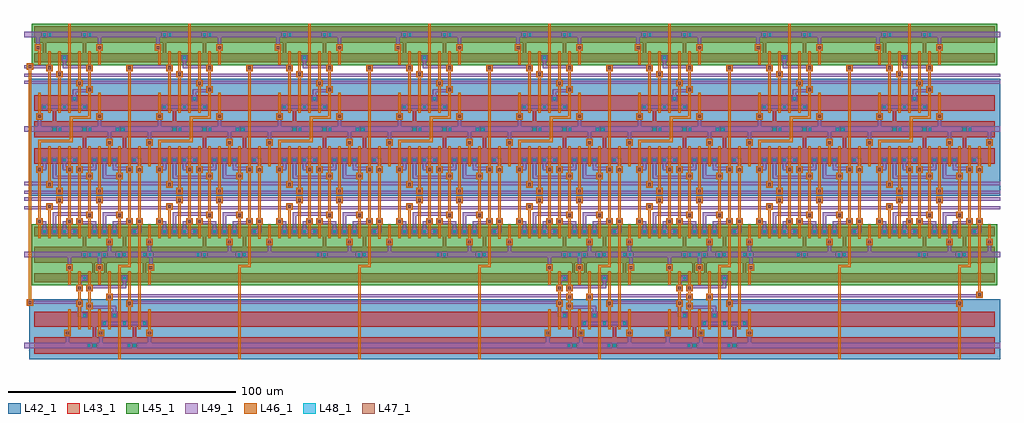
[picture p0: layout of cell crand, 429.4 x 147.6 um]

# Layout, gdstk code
import gdstk
lib = gdstk.Library(unit=1e-6, precision=2e-10)
def R(c, l, rs):  # rectangles x0, y0, x1, y1
    for r in rs: c.add(gdstk.rectangle(r[:2], r[2:], *l))
def A(c, l, x, y, w, h, nx, ny, dx, dy):  # array of equal rectangles
    R(c, l, [(x+i*dx, y+j*dy, x+i*dx+w, y+j*dy+h) for i in range(nx) for j in range(ny)])
L42_1 = (42, 1)
L43_1 = (43, 1)
L45_1 = (45, 1)
L46_1 = (46, 1)
L47_1 = (47, 1)
L48_1 = (48, 1)
L49_1 = (49, 1)

right = lib.new_cell('right')
R(right, L42_1, [(423.2,1.4,425.6,27.8), (423.2,73.4,425.6,124.8)])
R(right, L45_1, [(423.2,34,424.4,60.8), (423.2,130.8,424.4,149)])
R(right, L49_1, [(423.2,6.2,425.6,8.6), (423.2,6.2,425.6,8.6), (423.2,46.2,425.6,48.6), (423.2,46.2,425.6,48.6), (423.2,67.4,425.6,68.8), (423.2,67.4,425.6,68.8), (423.2,71.2,425.6,72.6), (423.2,71.2,425.6,72.6), (423.2,74.2,425.6,75.6), (423.2,74.2,425.6,75.6), (423.2,78,425.6,79.4), (423.2,78,425.6,79.4), (423.2,101.4,425.6,103.8), (423.2,101.4,425.6,103.8), (423.2,122.6,425.6,124), (423.2,122.6,425.6,124), (423.2,125.6,425.6,127), (423.2,125.6,425.6,127), (423.2,143,425.6,145.4), (423.2,143,425.6,145.4)])

substr_1 = lib.new_cell('substr_1')
R(substr_1, L43_1, [(5.2,27,6.8,30.4), (22.8,27,24.4,30.4), (1.6,30.4,54.4,37.6)])
R(substr_1, L45_1, [(1.6,27,54.4,32.8), (1.6,32.8,4.8,35.2), (7.2,32.8,22.4,35.2), (24.8,32.8,54.4,35.2), (1.6,35.2,54.4,38.8)])
R(substr_1, L46_1, [(1.8,27,4.6,29.8), (16.4,27,17.6,38.8), (28.8,27,31.6,29.8), (16.4,37.6,17.6,38.8)])
R(substr_1, L47_1, [(2.6,27.8,3.8,29), (29.6,27.8,30.8,29)])
R(substr_1, L48_1, [(5.4,33.4,6.6,34.6), (7.8,33.4,9,34.6), (23,33.4,24.2,34.6), (25.4,33.4,26.6,34.6)])
R(substr_1, L49_1, [(2,27.2,4.4,29.6), (29,27.2,31.4,29.6), (2.4,29.6,4,32.8), (29.4,29.6,31,32.8), (1.6,32.8,54.4,35.2)])

selector_b = lib.new_cell('selector_b')
R(selector_b, L42_1, [(-3.6,-18.4,49.2,-3.2)])
R(selector_b, L43_1, [(4.4,-18.4,6,-17.2), (-3.6,-17.2,49.2,-10.4), (-3.6,4,49.2,8), (0,8,1.6,9.2), (17.6,8,19.2,9.2)])
R(selector_b, L45_1, [(-3.6,2.8,49.2,9.2)])
R(selector_b, L46_1, [(-2,-18.4,-0.8,-9.4), (20,-18.4,21.2,-9.4), (24.4,-18.4,25.6,-9.4), (2.4,-18.2,3.6,0.2), (6.8,-18.2,8,-2.6), (11.2,-18.2,12.4,9.2), (15.6,-18.2,16.8,-6.6), (19.2,-9.4,22,-6.6), (14.8,-6.6,17.6,-3.8), (20,-6.6,21.2,0.2), (15.6,-3.8,16.8,9), (6,-2.6,8.8,0.2), (1.6,0.2,4.4,3), (6.8,0.2,8,9), (19.2,0.2,22,3), (-2,3,-0.8,9.2), (2.4,3,3.6,9), (20,3,21.2,9), (24.4,3,25.6,9.2)])
R(selector_b, L47_1, [(20,-8.6,21.2,-7.4), (15.6,-5.8,16.8,-4.6), (6.8,-1.8,8,-0.6), (2.4,1,3.6,2.2), (20,1,21.2,2.2)])
A(selector_b, L48_1, 0.2, -16.2, 1.2, 1.2, 3, 1, 8.8, 0)
R(selector_b, L48_1, [(13.4,-12.6,14.6,-11.4), (9,5.4,10.2,6.6)])
A(selector_b, L49_1, -0.4, -16.8, 2.4, 0.4, 3, 2, 8.8, 2)
R(selector_b, L49_1, [(-0.4,-16.4,19.6,-14.8), (12.8,-13.2,15.2,-10.8), (13.2,-10.8,14.8,-9.2), (13.2,-9.2,21.8,-7.8), (19.4,-7.8,21.8,-6.8), (15,-6.4,17.4,-5.4), (-3.6,-5.4,49.2,-4), (-3.6,-2.4,49.2,-1), (6.2,-1,8.6,0), (1.8,0.4,4.2,1.4), (19.4,0.4,21.8,1.4), (-3.6,1.4,4.2,2.8), (8.8,1.4,21.8,2.8), (8.8,2.8,10.4,4.8), (8.4,4.8,10.8,7.2)])

selector = lib.new_cell('selector')
R(selector, L42_1, [(-3.6,-18.4,49.2,-3.2)])
R(selector, L43_1, [(4.4,-18.4,6,-17.2), (-3.6,-17.2,49.2,-10.4), (-3.6,4,49.2,8), (0,8,1.6,9.2), (17.6,8,19.2,9.2)])
R(selector, L45_1, [(-3.6,2.8,49.2,9.2)])
A(selector, L46_1, 1.6, 0.2, 2.8, 2.8, 3, 1, 17.6, 0)
R(selector, L46_1, [(-2,-18.4,-0.8,-9.4), (20,-18.4,21.2,-9.4), (24.4,-18.4,25.6,-9.4), (37.6,-18.4,38.8,0.2), (2.4,-18.2,3.6,0.2), (6.8,-18.2,8,-2.6), (11.2,-18.2,12.4,9.2), (15.6,-18.2,16.8,-6.6), (19.2,-9.4,22,-6.6), (14.8,-6.6,17.6,-3.8), (20,-6.6,21.2,0.2), (15.6,-3.8,16.8,9), (6,-2.6,8.8,0.2), (6.8,0.2,8,9), (-2,3,-0.8,9.2), (2.4,3,3.6,9), (20,3,21.2,9), (24.4,3,25.6,9.2)])
A(selector, L47_1, 2.4, 1, 1.2, 1.2, 3, 1, 17.6, 0)
R(selector, L47_1, [(20,-8.6,21.2,-7.4), (15.6,-5.8,16.8,-4.6), (6.8,-1.8,8,-0.6)])
A(selector, L48_1, 0.2, -16.2, 1.2, 1.2, 3, 1, 8.8, 0)
R(selector, L48_1, [(13.4,-12.6,14.6,-11.4), (9,5.4,10.2,6.6)])
A(selector, L49_1, -0.4, -16.8, 2.4, 0.4, 3, 2, 8.8, 2)
A(selector, L49_1, 1.8, 0.4, 2.4, 1, 3, 1, 17.6, 0)
R(selector, L49_1, [(-0.4,-16.4,19.6,-14.8), (12.8,-13.2,15.2,-10.8), (13.2,-10.8,14.8,-9.2), (13.2,-9.2,21.8,-7.8), (19.4,-7.8,21.8,-7.2), (19.4,-7.2,21.8,-6.8), (15,-6.4,17.4,-5.4), (-3.6,-5.4,49.2,-4), (-3.6,-2.4,49.2,-1), (6.2,-1,8.6,0), (-3.6,1.4,4.2,2.8), (8.8,1.4,21.8,2.8), (37,1.4,49.2,2.8), (8.8,2.8,10.4,4.8), (8.4,4.8,10.8,7.2)])

substr_2b = lib.new_cell('substr_2b')
R(substr_2b, L42_1, [(0.8,42.6,53.6,56.8)])
R(substr_2b, L43_1, [(22,42.6,23.6,46.2), (39.6,42.6,41.2,46.2), (0.8,46.2,53.6,53.4), (8.8,53.4,10.4,56.8)])
R(substr_2b, L45_1, [(8.4,48.6,10.8,51), (21.6,48.6,24,51), (39.2,48.6,41.6,51)])
R(substr_2b, L46_1, [(2.4,42.6,3.6,44), (32.4,42.6,35.2,45.6), (50,42.6,52.8,45.4), (2.4,44,17.6,45.2), (16.4,45.2,17.6,54.4), (1.6,54,4.4,56.8), (28,54,30.8,56.8), (16.4,54.4,25.6,55.6), (24.4,55.6,25.6,56.8)])
R(substr_2b, L47_1, [(33.2,43.4,34.4,44.6), (50.8,43.4,52,44.6), (2.4,54.8,3.6,56), (28.8,54.8,30,56)])
R(substr_2b, L48_1, [(9,49.2,10.2,50.4), (11.4,49.2,12.6,50.4), (22.2,49.2,23.4,50.4), (24.6,49.2,25.8,50.4), (39.8,49.2,41,50.4), (42.2,49.2,43.4,50.4)])
R(substr_2b, L49_1, [(32.6,42.8,35,45.4), (50.2,42.8,52.6,45.2), (50.6,45.2,52.2,48.6), (33,45.4,34.6,48.6), (0.8,48.6,53.6,51), (2.2,51,3.8,54.2), (28.6,51,30.2,54.2), (1.8,54.2,4.2,56.6), (28.2,54.2,30.6,56.6)])

substr_2 = lib.new_cell('substr_2')
R(substr_2, L42_1, [(0.8,42.6,53.6,56.8)])
R(substr_2, L43_1, [(22,42.6,23.6,46.2), (39.6,42.6,41.2,46.2), (0.8,46.2,53.6,53.4), (8.8,53.4,10.4,56.8)])
R(substr_2, L45_1, [(8.4,48.6,10.8,51), (21.6,48.6,24,51), (38.4,48.6,40.8,51)])
R(substr_2, L46_1, [(2.4,42.6,3.6,44), (32.4,42.6,35.2,45.6), (42,42.6,43.2,44.4), (50,42.6,52.8,45.4), (2.4,44,17.6,45.2), (42,44.4,43.2,55.2), (16.4,45.2,17.6,54.4), (1.6,54,4.4,56.8), (28,54,30.8,56.8), (16.4,54.4,25.6,55.6), (42,55.2,43.2,56.8), (24.4,55.6,25.6,56.8)])
R(substr_2, L47_1, [(33.2,43.4,34.4,44.6), (50.8,43.4,52,44.6), (2.4,54.8,3.6,56), (28.8,54.8,30,56)])
R(substr_2, L48_1, [(9,49.2,10.2,50.4), (11.4,49.2,12.6,50.4), (22.2,49.2,23.4,50.4), (24.6,49.2,25.8,50.4), (36.6,49.2,37.8,50.4), (39,49.2,40.2,50.4)])
R(substr_2, L49_1, [(32.6,42.8,35,45.4), (50.2,42.8,52.6,45.2), (50.6,45.2,52.2,48.6), (33,45.4,34.6,48.6), (0.8,48.6,53.6,51), (2.2,51,3.8,54.2), (28.6,51,30.2,54.2), (1.8,54.2,4.2,56.6), (28.2,54.2,30.6,56.6)])

latch = lib.new_cell('latch')
R(latch, L42_1, [(-3.6,21.8,49.2,43.8)])
R(latch, L43_1, [(17.6,2.8,19.2,4), (35.2,2.8,36.8,4), (-3.6,4,49.2,8), (-3.6,35.8,49.2,42.6), (17.6,42.6,19.2,43.8), (35.2,42.6,36.8,43.8)])
R(latch, L45_1, [(-3.6,2.8,49.2,9.2)])
A(latch, L46_1, 37.6, 2.8, 1.2, 6.2, 3, 1, 4.4, 0)
A(latch, L46_1, 28.8, 34.6, 1.2, 9.2, 3, 1, 8.8, 0)
R(latch, L46_1, [(28.8,2.8,30,9), (-2,3,-0.8,9), (2.4,3,3.6,15.6), (6.8,3,8,18.4), (11.2,3,12.4,9), (15.6,3,16.8,9), (20,3,21.2,11.8), (24.4,3,25.6,18.4), (33.2,3,34.4,11.4), (-2.8,9,0,11.8), (10.4,9,13.2,11.8), (14.8,9,17.6,11.8), (36.8,9,39.6,11.8), (41.2,9,44,11.8), (33.2,11.4,34.4,11.8), (-2,11.8,-0.8,31.8), (11.2,11.8,12.4,31.8), (15.6,11.8,16.8,31.8), (19.2,11.8,22,14.6), (32.4,11.8,35.2,14.6), (37.6,11.8,38.8,31.8), (42,11.8,43.2,31.8), (20,14.6,21.2,29), (33.2,14.6,34.4,29), (1.6,15.6,4.4,18.4), (6,18.4,8.8,21.2), (23.6,18.4,26.4,21.2), (6,22.4,8.8,25.2), (23.6,22.4,26.4,25.2), (1.6,25.2,4.4,28), (6.8,25.2,8,43.6), (24.4,25.2,25.6,25.4), (24.4,25.4,25.6,43.6), (2.4,28,3.6,43.6), (19.2,29,22,31.8), (32.4,29,35.2,31.8), (-2.8,31.8,0,34.6), (10.4,31.8,13.2,34.6), (14.8,31.8,17.6,34.6), (20,31.8,21.2,43.6), (33.2,31.8,34.4,43.6), (36.8,31.8,39.6,34.6), (41.2,31.8,44,34.6), (-2,34.6,-0.8,43.8), (11.2,34.6,12.4,43.6), (15.6,34.6,16.8,43.6), (42,34.6,43.2,43.6)])
R(latch, L47_1, [(-2,9.8,-0.8,11), (11.2,9.8,12.4,11), (15.6,9.8,16.8,11), (37.6,9.8,38.8,11), (42,9.8,43.2,11), (20,12.6,21.2,13.8), (33.2,12.6,34.4,13.8), (2.4,16.4,3.6,17.6), (6.8,19.2,8,20.4), (24.4,19.2,25.6,20.4), (6.8,23.2,8,24.4), (24.4,23.2,25.6,24.4), (2.4,26,3.6,27.2), (20,29.8,21.2,31), (33.2,29.8,34.4,31), (-2,32.6,-0.8,33.8), (11.2,32.6,12.4,33.8), (15.6,32.6,16.8,33.8), (37.6,32.6,38.8,33.8), (42,32.6,43.2,33.8)])
A(latch, L48_1, 0.2, 5.4, 1.2, 1.2, 4, 2, 4.4, 31.4)
A(latch, L48_1, 22.2, 5.4, 1.2, 1.2, 3, 2, 4.4, 31.4)
R(latch, L48_1, [(39.8,5.4,41,6.6), (39.8,36.8,41,38)])
A(latch, L49_1, 21.6, 4.8, 2.4, 2.4, 3, 2, 4.4, 31.4)
R(latch, L49_1, [(-0.4,4.8,2,7.2), (4,4.8,6.4,7.2), (8.4,4.8,10.8,5.2), (12.8,4.8,15.2,5.2), (39.2,4.8,41.6,5.2), (8.4,5.2,15.2,6.8), (39.2,5.2,43.4,6.8), (8.4,6.8,10.8,7.2), (12.8,6.8,15.2,7.2), (39.2,6.8,41.6,7.2), (41.8,6.8,43.4,9.2), (0,7.2,1.6,9.2), (4.4,7.2,6,13), (8.8,7.2,10.4,9.2), (22,7.2,23.6,9.2), (26.4,7.2,28,13), (30.8,7.2,32.4,9.2), (-2.6,9.2,1.6,10.6), (8.8,9.2,13,10.6), (15,9.2,23.6,10.6), (30.8,9.2,39.4,10.6), (41.4,9.2,43.8,11.6), (-2.6,10.6,-0.2,11.6), (10.6,10.6,13,11.6), (15,10.6,17.4,11.6), (37,10.6,39.4,11.6), (19.4,12,21.8,13), (32.6,12,35,13), (4.4,13,21.8,14.4), (26.4,13,35,14.4), (-3.6,15.8,49.2,17.2), (1.8,17.2,4.2,18.2), (6.2,18.6,8.6,19.6), (23.8,18.6,26.2,19.6), (-3.6,19.6,49.2,21), (-3.6,22.6,49.2,24), (6.2,24,8.6,25), (23.8,24,26.2,25), (1.8,25.4,4.2,26.4), (-3.6,26.4,49.2,27.8), (4.4,29.2,21.8,30.6), (26.4,29.2,35,30.8), (4.4,30.6,6,36.2), (19.4,30.6,21.8,31.6), (26.4,30.8,28,36.2), (32.6,30.8,35,31.6), (-2.6,32,-0.2,33), (10.6,32,13,33), (15,32,17.4,33), (37,32,39.4,33), (41.4,32,43.8,34.4), (-2.6,33,1.6,34.4), (8.8,33,13,34.4), (15,33,23.6,34.4), (30.8,33,39.4,34.4), (0,34.4,1.6,36.2), (8.8,34.4,10.4,36.2), (22,34.4,23.6,36.2), (30.8,34.4,32.4,36.2), (41.8,34.4,43.4,36.2), (-0.4,36.2,2,38.6), (4,36.2,6.4,38.6), (8.4,36.2,10.8,36.6), (12.8,36.2,15.2,36.6), (39.2,36.2,43.4,38.2), (8.4,36.6,15.2,38.2), (8.4,38.2,10.8,38.6), (12.8,38.2,15.2,38.6), (39.2,38.2,41.6,38.6)])

substr_3a = lib.new_cell('substr_3a')
R(substr_3a, L43_1, [(13.8,27,15,30.4), (19,27,20.2,30.4), (36,27,37.6,30.4), (-11.6,30.4,41.2,37.6), (9.6,37.6,11.2,41), (27.2,37.6,28.8,41)])
R(substr_3a, L45_1, [(-11.6,27,41.2,32.8), (-11.6,32.8,9.2,35.2), (11.6,32.8,18,35.2), (20.4,32.8,24.4,35.2), (26.8,32.8,38,35.2), (40.4,32.8,41.2,35.2), (-11.6,35.2,41.2,41)])
R(substr_3a, L46_1, [(2.4,27,5.2,29.8), (15.6,27,18.4,29.8), (25.2,27,26.4,28.4), (34,27,35.2,41), (38.2,27,41,29.8), (25.2,28.4,30.8,29.6), (29.6,29.6,30.8,41), (20,38.2,22.8,41), (37.6,38.2,40.4,41)])
R(substr_3a, L47_1, [(3.2,27.8,4.4,29), (16.4,27.8,17.6,29), (39,27.8,40.2,29), (20.8,39,22,40.2), (38.4,39,39.6,40.2)])
R(substr_3a, L48_1, [(9.8,33.4,11,34.6), (12.2,33.4,13.4,34.6), (16.2,33.4,17.4,34.6), (18.6,33.4,19.8,34.6), (25,33.4,26.2,34.6), (27.4,33.4,28.6,34.6), (36.2,33.4,37.4,34.6), (38.6,33.4,39.8,34.6)])
R(substr_3a, L49_1, [(2.6,27.2,5,29.6), (15.8,27.2,18.2,29.6), (38.4,27.2,40.8,27.6), (38.4,27.6,40.8,29.2), (38.4,29.2,40.8,29.6), (3,29.6,4.6,32.8), (16.2,29.6,17.8,32.8), (38.8,29.6,40.4,32.8), (-11.6,32.8,41.2,35.2), (20.6,35.2,22.2,38.4), (38.2,35.2,39.8,38.4), (20.2,38.4,22.6,40.8), (37.8,38.4,40.2,40.8)])

substr_3b = lib.new_cell('substr_3b')
R(substr_3b, L43_1, [(-11.6,30.4,41.2,37.6), (9.6,37.6,11.2,41), (27.2,37.6,28.8,41)])
R(substr_3b, L45_1, [(-11.6,27,41.2,32.8), (-11.6,32.8,9.2,35.2), (11.6,32.8,24.4,35.2), (26.8,32.8,41.2,35.2), (-11.6,35.2,41.2,41)])
R(substr_3b, L46_1, [(25.2,27,26.4,28.4), (25.2,28.4,30.8,29.6), (29.6,29.6,30.8,41), (20,38.2,22.8,41), (37.6,38.2,40.4,41)])
R(substr_3b, L47_1, [(20.8,39,22,40.2), (38.4,39,39.6,40.2)])
R(substr_3b, L48_1, [(7,33.4,8.2,34.6), (9.8,33.4,11,34.6), (25,33.4,26.2,34.6), (27.4,33.4,28.6,34.6)])
R(substr_3b, L49_1, [(-11.6,32.8,41.2,35.2), (20.6,35.2,22.2,38.4), (38.2,35.2,39.8,38.4), (20.2,38.4,22.6,40.8), (37.8,38.4,40.2,40.8)])

substr_3c = lib.new_cell('substr_3c')
R(substr_3c, L43_1, [(-11.6,30.4,41.2,37.6), (9.6,37.6,11.2,41), (27.2,37.6,28.8,41)])
R(substr_3c, L45_1, [(-11.6,27,41.2,32.8), (-11.6,32.8,9.2,35.2), (11.6,32.8,24.4,35.2), (26.8,32.8,41.2,35.2), (-11.6,35.2,41.2,41)])
R(substr_3c, L46_1, [(25.2,27,26.4,28.4), (34,27,35.2,41), (25.2,28.4,30.8,29.6), (29.6,29.6,30.8,41), (20,38.2,22.8,41), (37.6,38.2,40.4,41)])
R(substr_3c, L47_1, [(20.8,39,22,40.2), (38.4,39,39.6,40.2)])
R(substr_3c, L48_1, [(7.4,33.4,8.6,34.6), (9.8,33.4,11,34.6), (25,33.4,26.2,34.6), (27.4,33.4,28.6,34.6)])
R(substr_3c, L49_1, [(-11.6,32.8,41.2,35.2), (20.6,35.2,22.2,38.4), (38.2,35.2,39.8,38.4), (20.2,38.4,22.6,40.8), (37.8,38.4,40.2,40.8)])

shiftreg = lib.new_cell('shiftreg')
A(shiftreg, L46_1, 51.6, 177.6, 1.2, 1.2, 8, 1, 52.8, 0)
shiftreg.add(gdstk.Reference(substr_1, (404.8,140)))
shiftreg.add(gdstk.Reference(substr_1, (352,140)))
shiftreg.add(gdstk.Reference(substr_1, (299.2,140)))
shiftreg.add(gdstk.Reference(substr_1, (246.4,140)))
shiftreg.add(gdstk.Reference(substr_1, (193.6,140)))
shiftreg.add(gdstk.Reference(substr_1, (140.8,140)))
shiftreg.add(gdstk.Reference(substr_1, (88,140)))
shiftreg.add(gdstk.Reference(substr_1, (35.2,140)))
shiftreg.add(gdstk.Reference(selector_b, (410,157.8)))
shiftreg.add(gdstk.Reference(selector, (357.2,157.8)))
shiftreg.add(gdstk.Reference(selector, (304.4,157.8)))
shiftreg.add(gdstk.Reference(selector, (251.6,157.8)))
shiftreg.add(gdstk.Reference(selector, (198.8,157.8)))
shiftreg.add(gdstk.Reference(selector, (146,157.8)))
shiftreg.add(gdstk.Reference(selector, (93.2,157.8)))
shiftreg.add(gdstk.Reference(selector, (40.4,157.8)))
shiftreg.add(gdstk.Reference(substr_2b, (405.6,82.6)))
shiftreg.add(gdstk.Reference(substr_2, (352.8,82.6)))
shiftreg.add(gdstk.Reference(substr_2, (300,82.6)))
shiftreg.add(gdstk.Reference(substr_2, (247.2,82.6)))
shiftreg.add(gdstk.Reference(substr_2, (194.4,82.6)))
shiftreg.add(gdstk.Reference(substr_2, (141.6,82.6)))
shiftreg.add(gdstk.Reference(substr_2, (88.8,82.6)))
shiftreg.add(gdstk.Reference(substr_2, (36,82.6)))
shiftreg.add(gdstk.Reference(latch, (410,81.4)))
shiftreg.add(gdstk.Reference(latch, (357.2,81.4)))
shiftreg.add(gdstk.Reference(latch, (304.4,81.4)))
shiftreg.add(gdstk.Reference(latch, (251.6,81.4)))
shiftreg.add(gdstk.Reference(latch, (198.8,81.4)))
shiftreg.add(gdstk.Reference(latch, (146,81.4)))
shiftreg.add(gdstk.Reference(latch, (93.2,81.4)))
shiftreg.add(gdstk.Reference(latch, (40.4,81.4)))
shiftreg.add(gdstk.Reference(substr_3a, (312.4,43.2)))
shiftreg.add(gdstk.Reference(substr_3a, (259.6,43.2)))
shiftreg.add(gdstk.Reference(substr_3b, (206.8,43.2)))
shiftreg.add(gdstk.Reference(substr_3b, (154,43.2)))
shiftreg.add(gdstk.Reference(substr_3b, (101.2,43.2)))
shiftreg.add(gdstk.Reference(substr_3c, (418,43.2)))
shiftreg.add(gdstk.Reference(substr_3b, (365.2,43.2)))
shiftreg.add(gdstk.Reference(substr_3a, (48.4,43.2)))

connect_b = lib.new_cell('connect_b')
R(connect_b, L42_1, [(-25.6,-23.2,27.2,-9.8)])
R(connect_b, L43_1, [(-25.6,-22,27.2,-15.2), (-25.6,-2.4,27.2,1.6)])
R(connect_b, L45_1, [(-25.6,-3.6,27.2,2.8)])
R(connect_b, L46_1, [(11.2,-23.2,12.4,-13), (10.4,-13,13.2,-10.2), (11.2,-10.2,12.4,2.8), (19.2,-9.2,22,-6.4), (20,-6.4,21.2,2.8)])
R(connect_b, L47_1, [(11.2,-12.2,12.4,-11), (20,-8.4,21.2,-7.2)])
R(connect_b, L49_1, [(10.6,-12.8,13,-11.8), (-25.6,-11.8,13,-10.4), (-25.6,-9,21.8,-7.6), (19.4,-7.6,21.8,-6.6)])

connect = lib.new_cell('connect')
R(connect, L42_1, [(-25.6,-23.2,27.2,-22.2), (-25.6,-22.2,27.2,-16.2), (-25.6,-16.2,27.2,-15.8), (-25.6,-15.8,27.2,-9.8)])
R(connect, L43_1, [(-25.6,-22,27.2,-16.2), (-25.6,-16.2,27.2,-15.8), (-25.6,-15.8,27.2,-15.2), (-25.6,-2.4,27.2,1.6)])
R(connect, L45_1, [(-25.6,-3.6,27.2,2.8)])
R(connect, L46_1, [(11.2,-23.2,12.4,2.8)])
R(connect, L49_1, [(-25.6,-11.8,27.2,-10.4), (-25.6,-9,27.2,-7.6)])

exor = lib.new_cell('exor')
R(exor, L42_1, [(-25.6,-23.2,27.2,-9.8)])
R(exor, L43_1, [(0,-23.2,1.6,-22), (17.6,-23.2,19.2,-22), (-25.6,-22,27.2,-15.2), (-25.6,-2.4,27.2,1.6), (-0.2,1.6,1,2.8), (5,1.6,6.2,2.8), (22,1.6,23.6,2.8)])
R(exor, L45_1, [(-25.6,-3.6,27.2,2.8)])
A(exor, L46_1, -2.8, -14.2, 2.8, 2.8, 1, 3, 0, 4)
A(exor, L46_1, -10.8, -3.4, 1.2, 6, 3, 1, 4.4, 0)
R(exor, L46_1, [(-10.8,-23.2,-9.6,-14.2), (2.4,-23.2,3.6,-14.2), (11.2,-23.2,12.4,2.8), (24.4,-23.2,25.6,-14.2), (-6.4,-23,-5.2,-13), (-2,-23,-0.8,-14.2), (6.8,-23,8,-10.2), (15.6,-23,16.8,-13), (20,-23,21.2,2.8), (-7.2,-13,-4.4,-10.2), (14.8,-13,17.6,-10.2), (-2,-11.4,-0.8,-10.2), (-6.4,-10.2,-5.2,-6.2), (6,-10.2,8.8,-7.4), (15.6,-10.2,16.8,2.6), (-2,-7.4,-0.8,-6.2), (6.8,-7.4,8,2.6), (-7.2,-6.2,-4.4,-3.4), (2.4,-3.4,3.6,2.8), (24.4,-3.4,25.6,2.8), (-10.8,2.6,-9.6,2.8)])
A(exor, L47_1, -2, -13.4, 1.2, 1.2, 1, 3, 0, 4)
R(exor, L47_1, [(-6.4,-12.2,-5.2,-11), (15.6,-12.2,16.8,-11), (6.8,-9.4,8,-8.2), (-6.4,-5.4,-5.2,-4.2)])
A(exor, L48_1, 4.6, -21, 1.2, 1.2, 3, 1, 8.8, 0)
R(exor, L48_1, [(-4.2,-17.4,-3,-16.2), (9,-17.4,10.2,-16.2), (-4.2,-1,-3,0.2), (13.4,-1,14.6,0.2)])
A(exor, L49_1, 4, -21.6, 2.4, 0.4, 3, 2, 8.8, 2)
R(exor, L49_1, [(4,-21.2,24,-19.6), (-4.8,-18,-2.4,-17.6), (8.4,-18,10.8,-15.6), (-6.6,-17.6,-2.4,-15.6), (-6.6,-15.6,-5,-12.8), (8.8,-15.6,10.4,-14), (-2.6,-14,10.4,-12.6), (-7,-12.8,-4.6,-11.8), (15,-12.8,17.4,-11.8), (-2.6,-12.6,-0.2,-11.6), (-25.6,-11.8,-4.6,-10.4), (15,-11.8,27.2,-10.4), (-2.6,-10,-0.2,-9), (6.2,-10,8.6,-9), (-25.6,-9,-0.2,-7.6), (6.2,-9,27.2,-7.6), (-7,-6,-4.6,-5.6), (-2.6,-6,-0.2,-5), (-7,-5.6,-4.6,-5), (-7,-5,-4.6,-3.6), (-2.6,-5,14.8,-3.6), (-6.4,-3.6,-5,-1.6), (13.2,-3.6,14.8,-1.6), (-6.4,-1.6,-2.4,-0.2), (12.8,-1.6,15.2,0.8), (-4.8,-0.2,-2.4,0), (-4.8,0,-2.4,0.8)])

exor_a = lib.new_cell('exor_a')
R(exor_a, L42_1, [(-25.6,-23.2,27.2,-9.8)])
R(exor_a, L43_1, [(0,-23.2,1.6,-22), (17.6,-23.2,19.2,-22), (-25.6,-22,27.2,-15.2), (-25.6,-2.4,27.2,1.6), (-0.2,1.6,1,2.8), (5,1.6,6.2,2.8), (22,1.6,23.6,2.8)])
R(exor_a, L45_1, [(-25.6,-3.6,27.2,2.8)])
A(exor_a, L46_1, -10.8, -3.4, 1.2, 6, 4, 1, 4.4, 0)
R(exor_a, L46_1, [(-10.8,-23.2,-9.6,-14.2), (2.4,-23.2,3.6,-14.2), (11.2,-23.2,12.4,2.8), (24.4,-23.2,25.6,-14.2), (-6.4,-23,-5.2,-13), (-2,-23,-0.8,-14.2), (6.8,-23,8,-10.2), (15.6,-23,16.8,-13), (20,-23,21.2,2.8), (-2.8,-14.2,0,-11.4), (-7.2,-13,-4.4,-10.2), (14.8,-13,17.6,-10.2), (-2,-11.4,-0.8,-6.2), (-6.4,-10.2,-5.2,-6.2), (6,-10.2,8.8,-7.4), (15.6,-10.2,16.8,2.6), (6.8,-7.4,8,2.6), (-7.2,-6.2,-4.4,-3.4), (-2.8,-6.2,0,-3.4), (24.4,-3.4,25.6,2.8), (-10.8,2.6,-9.6,2.8), (2.4,2.6,3.6,2.8)])
R(exor_a, L47_1, [(-2,-13.4,-0.8,-12.2), (-6.4,-12.2,-5.2,-11), (15.6,-12.2,16.8,-11), (6.8,-9.4,8,-8.2), (-6.4,-5.4,-5.2,-4.2), (-2,-5.4,-0.8,-4.2)])
A(exor_a, L48_1, 4.6, -21, 1.2, 1.2, 3, 1, 8.8, 0)
R(exor_a, L48_1, [(-4.2,-17.4,-3,-16.2), (9,-17.4,10.2,-16.2), (-4.2,-1,-3,0.2), (13.4,-1,14.6,0.2)])
A(exor_a, L49_1, 4, -21.6, 2.4, 0.4, 3, 2, 8.8, 2)
R(exor_a, L49_1, [(4,-21.2,24,-19.6), (-4.8,-18,-2.4,-17.6), (8.4,-18,10.8,-15.6), (-6.6,-17.6,-2.4,-15.6), (-6.6,-15.6,-5,-12.8), (8.8,-15.6,10.4,-14), (-2.6,-14,10.4,-12.6), (-7,-12.8,-4.6,-11.8), (15,-12.8,17.4,-11.8), (-2.6,-12.6,-0.2,-11.6), (-25.6,-11.8,-4.6,-10.4), (15,-11.8,27.2,-10.4), (6.2,-10,8.6,-9), (6.2,-9,27.2,-7.6), (-7,-6,-4.6,-5.6), (-2.6,-6,-0.2,-5), (-7,-5.6,-4.6,-5), (-7,-5,-4.6,-3.6), (-2.6,-5,14.8,-3.6), (-6.4,-3.6,-5,-1.6), (13.2,-3.6,14.8,-1.6), (-6.4,-1.6,-2.4,-0.2), (12.8,-1.6,15.2,0.8), (-4.8,-0.2,-2.4,0), (-4.8,0,-2.4,0.8)])

substr_4b = lib.new_cell('substr_4b')
R(substr_4b, L42_1, [(0.8,43.8,53.6,56.8)])
R(substr_4b, L43_1, [(0.8,46.2,53.6,53.4)])
R(substr_4b, L46_1, [(37.6,43.8,38.8,45), (37.6,43.8,38.8,56.8)])
R(substr_4b, L49_1, [(0.8,48.6,53.6,51)])

substr_4 = lib.new_cell('substr_4')
R(substr_4, L42_1, [(0.8,43.8,53.6,56.8)])
R(substr_4, L43_1, [(0.8,46.2,53.6,53.4), (26.4,53.4,28,56.8), (44,53.4,45.6,56.8)])
R(substr_4, L45_1, [(26,48.6,28.4,51), (43.6,48.6,46,51)])
R(substr_4, L46_1, [(37.6,43.8,38.8,45), (37.6,43.8,38.8,56.8), (14,54,16.8,56.8), (28.6,54,31.4,56.8), (50,54,52.8,56.8)])
R(substr_4, L47_1, [(14.8,54.8,16,56), (29.4,54.8,30.6,56), (50.8,54.8,52,56)])
R(substr_4, L48_1, [(24.2,49.2,25.4,50.4), (26.6,49.2,27.8,50.4), (41.8,49.2,43,50.4), (44.2,49.2,45.4,50.4)])
R(substr_4, L49_1, [(0.8,48.6,53.6,51), (14.6,51,16.2,51.2), (29.2,51,30.8,54.2), (50.6,51,52.2,54.2), (14.6,51.2,16.2,54.2), (14.2,54.2,16.6,56.6), (28.8,54.2,31.2,56.6), (50.2,54.2,52.6,56.6)])

feedback = lib.new_cell('feedback')
A(feedback, L46_1, 74.4, 43.6, 1.2, 1.2, 8, 1, 52.8, 0)
feedback.add(gdstk.Reference(connect_b, (432.8,79.8)))
feedback.add(gdstk.Reference(connect, (380,79.8)))
feedback.add(gdstk.Reference(exor, (327.2,79.8)))
feedback.add(gdstk.Reference(exor, (274.4,79.8)))
feedback.add(gdstk.Reference(connect, (221.6,79.8)))
feedback.add(gdstk.Reference(connect, (168.8,79.8)))
feedback.add(gdstk.Reference(connect, (116,79.8)))
feedback.add(gdstk.Reference(exor_a, (63.2,79.8)))
feedback.add(gdstk.Reference(substr_4b, (406.4,-0.2)))
feedback.add(gdstk.Reference(substr_4b, (353.6,-0.2)))
feedback.add(gdstk.Reference(substr_4, (300.8,-0.2)))
feedback.add(gdstk.Reference(substr_4, (248,-0.2)))
feedback.add(gdstk.Reference(substr_4b, (195.2,-0.2)))
feedback.add(gdstk.Reference(substr_4b, (142.4,-0.2)))
feedback.add(gdstk.Reference(substr_4b, (89.6,-0.2)))
feedback.add(gdstk.Reference(substr_4, (36.8,-0.2)))

left = lib.new_cell('left')
R(left, L42_1, [(1.2,1,3.6,27.4), (1.2,73,3.6,124.4)])
R(left, L45_1, [(2.4,33.6,3.6,60.4), (2.4,130.4,3.6,133.8), (2.4,133.8,3.6,148.6)])
R(left, L46_1, [(0.2,24.6,3,27.4), (1,27.4,2.2,128.4), (0.2,128.4,3,131.2)])
R(left, L47_1, [(1,25.4,2.2,26.6), (1,129.2,2.2,130.4)])
R(left, L49_1, [(-1,5.8,3.6,8.2), (-1,5.8,3.6,8.2), (0.4,24.8,2.8,25.4), (0.4,25.4,3.6,26.8), (0.4,26.8,2.8,27.2), (-1,45.8,3.6,48.2), (-1,45.8,3.6,48.2), (-1,67,3.6,68.4), (-1,67,1,68.4), (-1,70.8,3.6,72.2), (-1,70.8,1,72.2), (-1,73.8,3.6,75.2), (-1,73.8,1,75.2), (-1,77.6,3.6,79), (-1,77.6,1,79), (-1,101,3.6,103.4), (-1,101,3.6,103.4), (-1,122.2,3.6,123.6), (-1,122.2,3.6,123.6), (-1,125.2,3.6,126.6), (-1,125.2,3.6,126.6), (0.4,128.6,2.8,129), (-1,129,0.4,130.4), (-1,129,3.6,130.4), (0.4,130.4,2.8,131), (-1,142.6,3.6,145), (-1,142.6,3.6,145)])

counter = lib.new_cell('counter')
A(counter, L46_1, 41.4, 0, 1.2, 1.2, 8, 1, 52.8, 0)
A(counter, L46_1, 19.4, 146.4, 1.2, 1.2, 8, 1, 52.8, 0)
R(counter, L49_1, [(0,4.8,4.6,7.2), (427,4.8,429.4,7.2), (0,44.8,4.6,47.2), (427,44.8,429.4,47.2), (0,66,2,67.4), (427,66,429.4,67.4), (0,69.8,2,71.2), (427,69.8,429.4,71.2), (0,72.8,2,74.2), (427,72.8,429.4,74.2), (0,76.6,2,78), (427,76.6,429.4,78), (0,100,4.6,102.4), (427,100,429.4,102.4), (0,121.2,4.6,122.6), (427,121.2,429.4,122.6), (0,124.2,4.6,125.6), (427,124.2,429.4,125.6), (0,128,1.4,129.4), (0,141.6,4.6,144), (427,141.6,429.4,144)])
counter.add(gdstk.Reference(right, (3.8,-1.4)))
counter.add(gdstk.Reference(shiftreg, (-32.2,-31.2)))
counter.add(gdstk.Reference(feedback, (-33,-43.6)))
counter.add(gdstk.Reference(left, (1,-1)))

crand = lib.new_cell('crand')
A(crand, L46_1, 41.4, 0, 1.2, 1.2, 8, 1, 52.8, 0)
A(crand, L46_1, 19.4, 146.4, 1.2, 1.2, 8, 1, 52.8, 0)
R(crand, L49_1, [(0,4.8,4.6,7.2), (427,4.8,429.4,7.2), (0,44.8,4.6,47.2), (427,44.8,429.4,47.2), (0,66,2,67.4), (427,66,429.4,67.4), (0,69.8,2,71.2), (427,69.8,429.4,71.2), (0,72.8,2,74.2), (427,72.8,429.4,74.2), (0,76.6,2,78), (427,76.6,429.4,78), (0,100,4.6,102.4), (427,100,429.4,102.4), (0,121.2,4.6,122.6), (427,121.2,429.4,122.6), (0,124.2,4.6,125.6), (427,124.2,429.4,125.6), (0,128,1.4,129.4), (0,141.6,4.6,144), (427,141.6,429.4,144)])
crand.add(gdstk.Reference(counter, (0,0)))

lib.write_gds('crand.gds')
